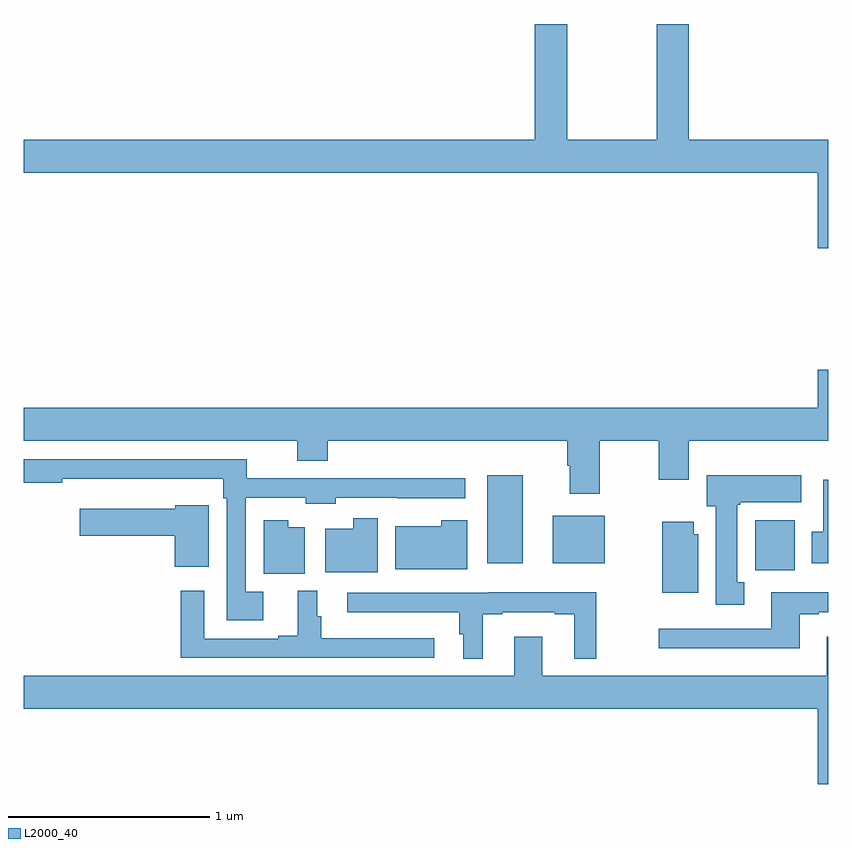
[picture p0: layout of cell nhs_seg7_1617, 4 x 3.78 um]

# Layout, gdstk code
import gdstk
lib = gdstk.Library(unit=1e-6, precision=1e-09)
def R(c, l, rs):  # rectangles x0, y0, x1, y1
    for r in rs: c.add(gdstk.rectangle(r[:2], r[2:], *l))
def P(c, l, *ps):  # polygons
    for p in ps: c.add(gdstk.Polygon(p, *l))
L2000_40 = (2000, 40)

nhs_seg7_1617 = lib.new_cell('nhs_seg7_1617')
R(nhs_seg7_1617, L2000_40, [(224.637,1021.284,224.833,1021.534), (223.304,1021.319,223.48,1021.756), (223.631,1021.319,223.888,1021.555)])
P(nhs_seg7_1617, L2000_40, [(225,1023.424),(224.306,1023.424),(224.306,1024),(224.146,1024),(224.146,1023.424),(223.701,1023.424),(223.701,1024),(223.541,1024),(223.541,1023.424),(221,1023.424),(221,1023.26),(224.948,1023.26),(224.948,1022.886),(225,1022.886)],
  [(223.863,1021.928),(224.158,1021.928),(224.158,1021.734),(224.305,1021.734),(224.305,1021.928),(225,1021.928),(225,1022.281),(224.948,1022.281),(224.948,1022.092),(221,1022.092),(221,1021.928),(222.359,1021.928),(222.359,1021.829),(222.512,1021.829),(222.512,1021.928),(223.703,1021.928),(223.703,1021.805),(223.715,1021.805),(223.715,1021.665),(223.863,1021.665)],
  [(222.19,1021.177),(222.105,1021.177),(222.105,1021.644),(222.402,1021.644),(222.402,1021.616),(222.552,1021.616),(222.552,1021.644),(222.856,1021.644),(222.856,1021.643),(223.195,1021.643),(223.195,1021.742),(222.108,1021.742),(222.108,1021.836),(221,1021.836),(221,1021.72),(221.192,1021.72),(221.192,1021.739),(221.993,1021.739),(221.993,1021.643),(222.009,1021.643),(222.009,1021.037),(222.19,1021.037)],
  [(224.581,1021.225),(224.548,1021.225),(224.548,1021.609),(224.562,1021.609),(224.562,1021.622),(224.866,1021.622),(224.866,1021.756),(224.396,1021.756),(224.396,1021.602),(224.441,1021.602),(224.441,1021.113),(224.581,1021.113)],
  [(225,1021.735),(224.975,1021.735),(224.975,1021.476),(224.918,1021.476),(224.918,1021.32),(225,1021.32)],
  [(221.92,1021.505),(221.919,1021.505),(221.919,1021.608),(221.754,1021.608),(221.754,1021.591),(221.28,1021.591),(221.28,1021.457),(221.75,1021.457),(221.75,1021.301),(221.92,1021.301)],
  [(222.76,1021.543),(222.638,1021.543),(222.638,1021.492),(222.5,1021.492),(222.5,1021.274),(222.76,1021.274)],
  [(222.397,1021.498),(222.316,1021.498),(222.316,1021.534),(222.194,1021.534),(222.194,1021.268),(222.397,1021.268)],
  [(223.204,1021.534),(223.075,1021.534),(223.075,1021.504),(222.848,1021.504),(222.848,1021.289),(223.204,1021.289)],
  [(224.353,1021.464),(224.332,1021.464),(224.332,1021.525),(224.174,1021.525),(224.174,1021.172),(224.353,1021.172)],
  [(223.042,1020.946),(222.479,1020.946),(222.479,1021.056),(222.46,1021.056),(222.46,1021.183),(222.362,1021.183),(222.362,1020.958),(222.266,1020.958),(222.266,1020.945),(221.898,1020.945),(221.898,1021.183),(221.782,1021.183),(221.782,1020.849),(223.042,1020.849)],
  [(223.282,1021.065),(223.378,1021.065),(223.378,1021.077),(223.64,1021.077),(223.64,1021.065),(223.736,1021.065),(223.736,1020.845),(223.846,1020.845),(223.846,1021.174),(223.308,1021.174),(223.308,1021.173),(222.609,1021.173),(222.609,1021.076),(223.165,1021.076),(223.165,1020.966),(223.184,1020.966),(223.184,1020.845),(223.282,1020.845)],
  [(224.857,1021.065),(224.953,1021.065),(224.953,1021.077),(225,1021.077),(225,1021.174),(224.717,1021.174),(224.717,1020.993),(224.157,1020.993),(224.157,1020.896),(224.857,1020.896)],
  [(225,1020.955),(224.993,1020.955),(224.993,1020.76),(223.579,1020.76),(223.579,1020.955),(223.439,1020.955),(223.439,1020.76),(221,1020.76),(221,1020.596),(224.948,1020.596),(224.948,1020.222),(225,1020.222)])

lib.write_gds('nhs_seg7_1617.gds')
